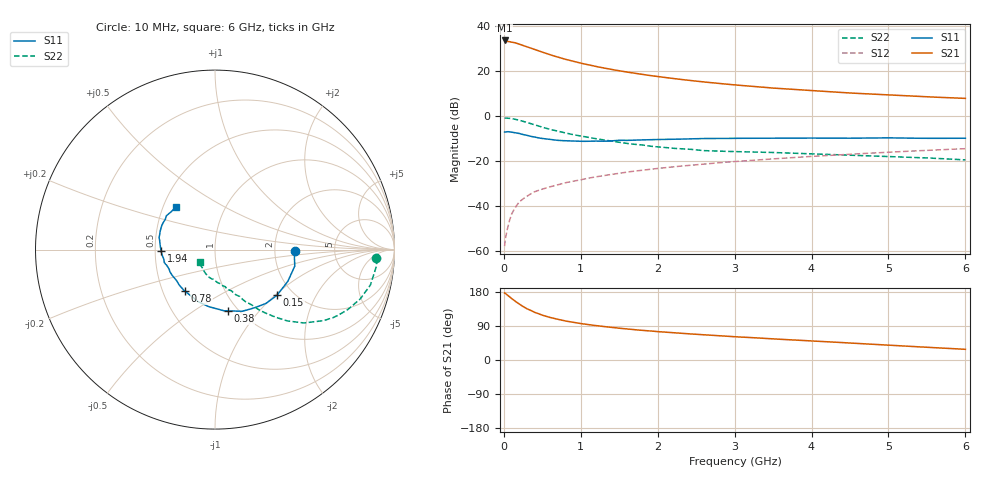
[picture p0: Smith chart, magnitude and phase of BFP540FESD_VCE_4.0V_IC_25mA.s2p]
! Infineon Technologies  Discrete & RF Semiconductors
! BFP540FESD
! VCE =  4.0 V,  IC =  25 mA
! Common Emitter S-Parameters:  Nov 2015
# GHz  S  MA  R  50
!  f  S11  S21  S12  S22
! GHz  MAG  ANG  MAG  ANG  MAG  ANG  MAG  ANG
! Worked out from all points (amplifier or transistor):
!   210 points, 10 MHz to 6 GHz, reference 50 ohm
!   highest |S21| = 33.6 dB at 10 MHz (marker M1)
!   |S21| within 3 dB of that: start of sweep to 320.3 MHz
!   unconditionally stable (mu >= 1): start of sweep to 24.36 MHz; 1.652 GHz to end of sweep
!   at 185 MHz: K = 0.43, MSG = 35.4 dB, |S12| = -38.7 dB
!   at 1.52 GHz: K = 0.98, MSG = 22.6 dB, |S12| = -25.2 dB
!   at 6 GHz: K = 1.17, MAG = 8.7 dB, |S12| = -14.4 dB
!   S11 on the Smith chart (normalised r, x): 10 MHz: 2.60, -0.04; 150 MHz: 1.65, -1.03; 380 MHz: 0.90, -0.70; 780 MHz: 0.65, -0.33; 1.94 GHz: 0.54, -0.01; 6 GHz: 0.58, +0.31
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0.01  0.4445 -0.7  47.87 176.8  0.0013 33.8  0.8983 -3.0
0.02  0.4444 -5.6  46.13 175.7  0.0019 53.8  0.906 -1.7
0.05  0.454 -11.6  45.74 170.8  0.0033 69.0  0.9036 -6.0
0.1  0.4427 -23.5  44.08 162.4  0.0066 73.4  0.8881 -12.8
0.15  0.4291 -36.4  42.41 154.7  0.0094 71.5  0.8544 -18.8
0.2  0.4131 -46.5  39.86 147.4  0.0125 68.1  0.8118 -24.3
0.26  0.3877 -57.9  36.84 140.0  0.015 67.8  0.7598 -29.9
0.3  0.3758 -66.1  34.91 135.3  0.0166 66.7  0.7245 -33.1
0.38  0.3484 -78.4  31.1 127.9  0.0201 65.9  0.6572 -38.2
0.4  0.3443 -81.7  30.24 125.8  0.021 65.8  0.6413 -39.6
0.5  0.3199 -96.1  26.37 118.3  0.024 65.3  0.5672 -44.5
0.6  0.3054 -107.6  23.04 112.3  0.027 64.4  0.5088 -47.9
0.78  0.2857 -125.6  18.72 104.0  0.0325 63.8  0.4296 -53.0
1.02  0.2754 -142.4  14.74 95.7  0.0394 63.7  0.3559 -57.6
1.4  0.2826 -161.8  10.89 86.0  0.0508 63.6  0.2786 -65.0
1.94  0.301 -179.0  7.814 76.0  0.0672 61.8  0.2125 -75.5
2.02  0.3035 178.3  7.49 74.6  0.0695 61.3  0.207 -77.7
2.6  0.3186 168.0  5.739 66.5  0.0863 58.8  0.1717 -90.5
3.1  0.3225 160.9  4.787 60.4  0.101 56.1  0.162 -98.0
4.1  0.3254 152.5  3.595 49.2  0.1307 50.4  0.144 -110.9
5.1  0.3278 143.7  2.901 38.1  0.1615 42.9  0.1251 -123.3
6  0.3233 132.3  2.478 28.2  0.1897 35.7  0.107 -141.1
